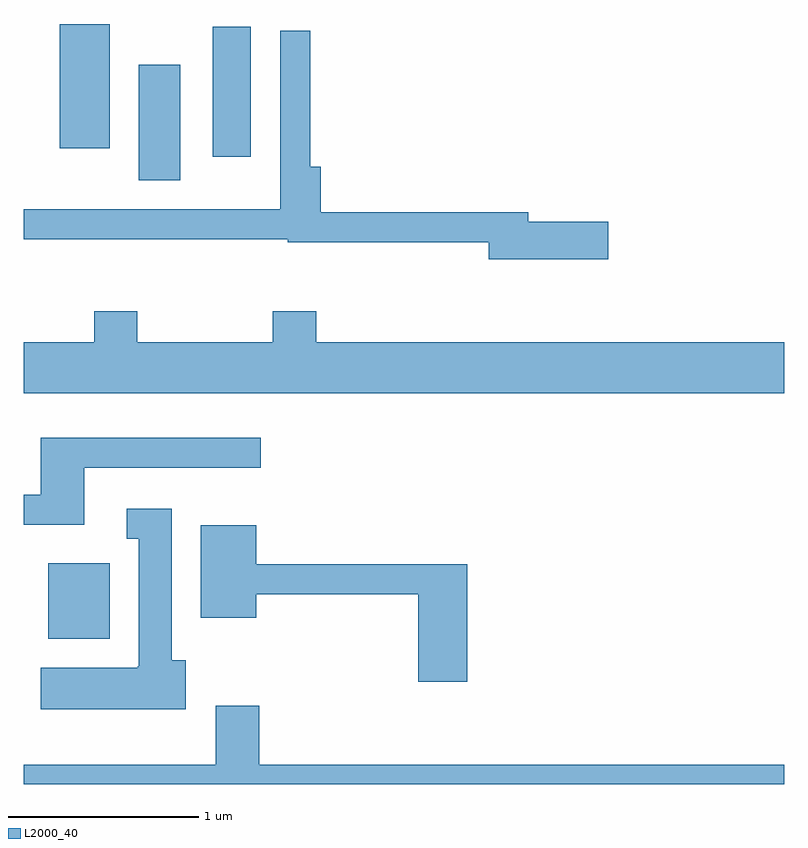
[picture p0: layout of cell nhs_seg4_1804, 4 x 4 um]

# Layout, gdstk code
import gdstk
lib = gdstk.Library(unit=1e-6, precision=1e-09)
def R(c, l, rs):  # rectangles x0, y0, x1, y1
    for r in rs: c.add(gdstk.rectangle(r[:2], r[2:], *l))
def P(c, l, *ps):  # polygons
    for p in ps: c.add(gdstk.Polygon(p, *l))
L2000_40 = (2000, 40)

nhs_seg4_1804 = lib.new_cell('nhs_seg4_1804')
R(nhs_seg4_1804, L2000_40, [(237.741,1326.746,238.064,1327.144), (238.216,1329.156,238.434,1329.764), (238.606,1329.281,238.804,1329.964), (237.801,1329.326,238.064,1329.979)])
P(nhs_seg4_1804, L2000_40, [(240.684,1328.939),(240.264,1328.939),(240.264,1328.989),(239.174,1328.989),(239.174,1329.229),(239.119,1329.229),(239.119,1329.943),(238.961,1329.943),(238.961,1329.004),(237.611,1329.004),(237.611,1328.846),(239,1328.846),(239,1328.831),(240.056,1328.831),(240.056,1328.741),(240.684,1328.741)],
  [(241.611,1328.304),(239.149,1328.304),(239.149,1328.469),(238.921,1328.469),(238.921,1328.304),(238.209,1328.304),(238.209,1328.469),(237.981,1328.469),(237.981,1328.304),(237.611,1328.304),(237.611,1328.036),(241.611,1328.036)],
  [(237.929,1327.646),(238.858,1327.646),(238.858,1327.804),(237.701,1327.804),(237.701,1327.504),(237.611,1327.504),(237.611,1327.346),(237.929,1327.346)],
  [(238.464,1326.634),(238.389,1326.634),(238.389,1327.429),(238.153,1327.429),(238.153,1327.271),(238.216,1327.271),(238.216,1326.6),(238.21,1326.6),(238.21,1326.594),(237.701,1326.594),(237.701,1326.376),(238.464,1326.376)],
  [(239.944,1327.139),(238.834,1327.139),(238.834,1327.344),(238.541,1327.344),(238.541,1326.856),(238.834,1326.856),(238.834,1326.981),(239.686,1326.981),(239.686,1326.521),(239.944,1326.521)],
  [(241.611,1326.084),(238.849,1326.084),(238.849,1326.394),(238.621,1326.394),(238.621,1326.084),(237.611,1326.084),(237.611,1325.982),(241.611,1325.982)])

lib.write_gds('nhs_seg4_1804.gds')
